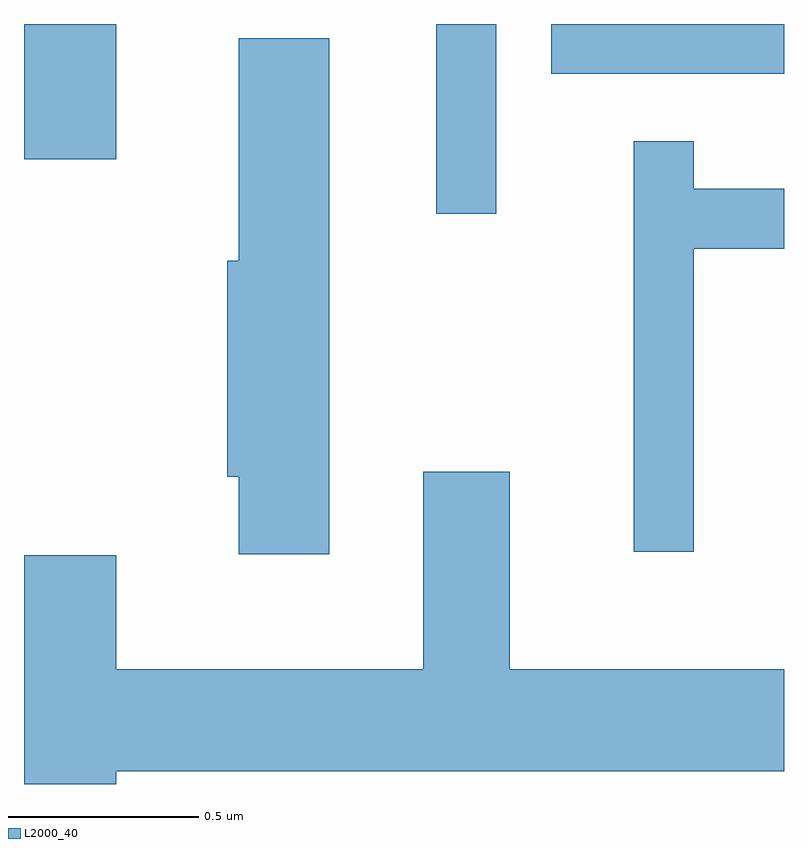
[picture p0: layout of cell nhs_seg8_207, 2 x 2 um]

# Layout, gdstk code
import gdstk
lib = gdstk.Library(unit=1e-6, precision=1e-09)
def R(c, l, rs):  # rectangles x0, y0, x1, y1
    for r in rs: c.add(gdstk.rectangle(r[:2], r[2:], *l))
def P(c, l, *ps):  # polygons
    for p in ps: c.add(gdstk.Polygon(p, *l))
L2000_40 = (2000, 40)

nhs_seg8_207 = lib.new_cell('nhs_seg8_207')
R(nhs_seg8_207, L2000_40, [(187.696,1877.843,187.854,1878.342), (186.611,1877.986,186.854,1878.342), (187.998,1878.211,188.611,1878.342)])
P(nhs_seg8_207, L2000_40, [(187.414,1878.304),(187.176,1878.304),(187.176,1877.719),(187.146,1877.719),(187.146,1877.151),(187.176,1877.151),(187.176,1876.946),(187.414,1876.946)],
  [(188.374,1877.751),(188.611,1877.751),(188.611,1877.909),(188.374,1877.909),(188.374,1878.033),(188.216,1878.033),(188.216,1876.953),(188.374,1876.953)],
  [(186.854,1876.376),(188.611,1876.376),(188.611,1876.644),(187.889,1876.644),(187.889,1877.164),(187.661,1877.164),(187.661,1876.644),(186.854,1876.644),(186.854,1876.944),(186.611,1876.944),(186.611,1876.342),(186.854,1876.342)])

lib.write_gds('nhs_seg8_207.gds')
